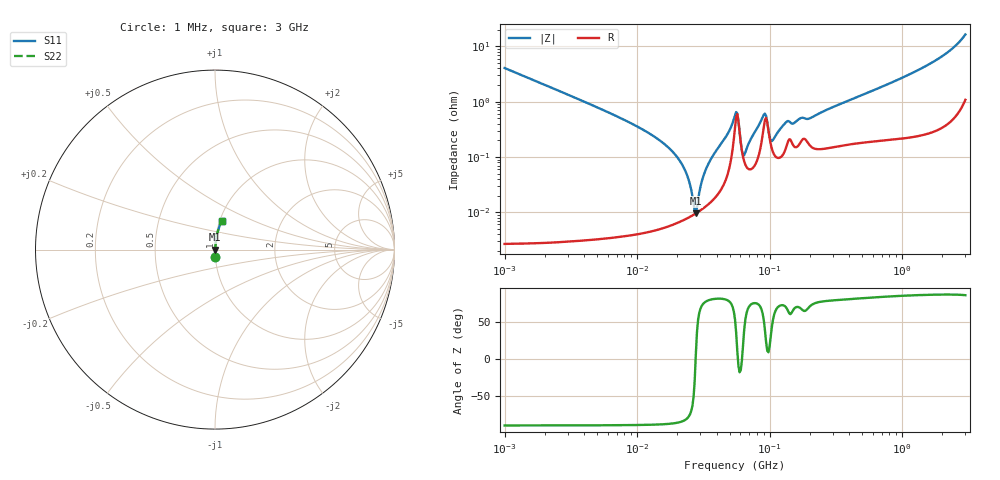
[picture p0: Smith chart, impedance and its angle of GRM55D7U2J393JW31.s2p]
!Murata Part Number: GRM55D7U2J393JW31
!These Parameters are Measured in Series Mode Connection
!Data Generated on Mar 30, 2021
!  o--ll--o
!Port1  Port2
!  o------o
!Operation Temp=25[degC], DC Bias Voltage=0[V]
!Freq. Start=1000[kHz] Stop=3[GHz] 401[Steps]
# Hz S RI R 50
!Freq.(Hz) S11(Real) S11(Imag) S21(Real) S21(Imag) S12(Real) S12(Imag) S22(Real) S22(Imag)
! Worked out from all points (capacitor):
!   401 points, 1 MHz to 3 GHz, reference 50 ohm
!   read as one part in series: C = 39 nF near 1.041 MHz
!   lowest |Z| = 9.57 mohm at 27.73 MHz (marker M1)
!   series resonance near 27.65 MHz, so ESL is about 850 pH
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1000000  0.00168 -0.0407  0.9983 0.0407  0.9983 0.0407  0.00168 -0.0407
3823119  0.00014 -0.0105  0.9999 0.0105  0.9999 0.0105  0.00014 -0.0105
1.461624e7  5.3e-05 -0.00204  0.9999 0.00204  0.9999 0.00204  5.3e-05 -0.00204
2.181181e7  7.03e-05 -0.000732  0.9999 0.000732  0.9999 0.000732  7.03e-05 -0.000732
2.41077e7  7.87e-05 -0.000424  0.9999 0.000424  0.9999 0.000424  7.87e-05 -0.000424
2.664524e7  8.98e-05 -0.000115  0.9999 0.000115  0.9999 0.000115  8.98e-05 -0.000115
2.773354e7  9.52e-05 1e-05  0.9999 -1e-05  0.9999 -1e-05  9.52e-05 1e-05
3.320783e7  0.000129 0.000604  0.9999 -0.000604  0.9999 -0.000604  0.000129 0.000604
4.857399e7  0.000526 0.00266  0.9995 -0.00266  0.9995 -0.00266  0.000526 0.00266
5.477226e7  0.00342 0.00459  0.9966 -0.00459  0.9966 -0.00459  0.00342 0.00459
5.700937e7  0.00599 0.00113  0.994 -0.00113  0.994 -0.00113  0.00599 0.00113
6.176144e7  0.00129 -4.23e-05  0.9987 4.23e-05  0.9987 4.23e-05  0.00129 -4.23e-05
6.428402e7  0.000829 0.000689  0.9992 -0.000689  0.9992 -0.000689  0.000829 0.000689
9.034013e7  0.00356 0.00458  0.9964 -0.00458  0.9964 -0.00458  0.00356 0.00458
9.402997e7  0.00508 0.00212  0.9949 -0.00212  0.9949 -0.00212  0.00508 0.00212
9.984923e7  0.00223 0.000664  0.9978 -0.000664  0.9978 -0.000664  0.00223 0.000664
1.039275e8  0.00141 0.00132  0.9986 -0.00132  0.9986 -0.00132  0.00141 0.00132
1.348146e8  0.00165 0.00406  0.9984 -0.00406  0.9984 -0.00406  0.00165 0.00406
2.094008e8  0.00151 0.00502  0.9985 -0.00502  0.9985 -0.00502  0.00151 0.00502
8.005644e8  0.00248 0.0212  0.9975 -0.0212  0.9975 -0.0212  0.00248 0.0212
1.855641e9  0.0065 0.0585  0.9935 -0.0585  0.9935 -0.0585  0.0065 0.0585
3e9  0.0363 0.157  0.9637 -0.157  0.9637 -0.157  0.0363 0.157
